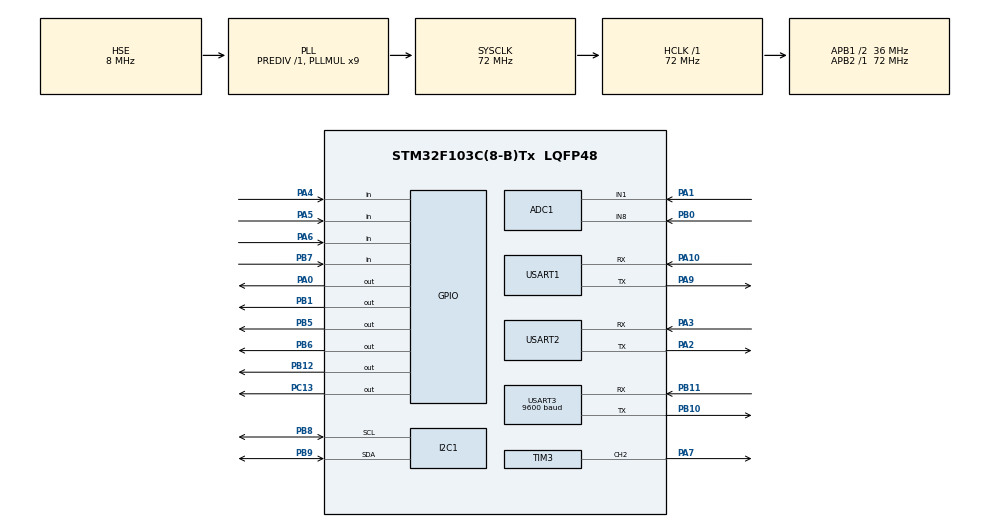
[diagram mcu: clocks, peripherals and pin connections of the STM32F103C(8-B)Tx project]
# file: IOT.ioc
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ADC1.Channel-0\#ChannelRegularConversion=ADC_CHANNEL_8
ADC1.NbrOfConversionFlag=1
ADC1.Rank-0\#ChannelRegularConversion=1
ADC1.SamplingTime-0\#ChannelRegularConversion=ADC_SAMPLETIME_1CYCLE_5
ADC1.master=1
Mcu.Family=STM32F1
Mcu.Name=STM32F103C(8-B)Tx
Mcu.Package=LQFP48
NVIC.PriorityGroup=NVIC_PRIORITYGROUP_4
NVIC.TIM1_BRK_IRQn=true\:0\:0\:false\:false\:true\:true\:true\:true
NVIC.TIM1_CC_IRQn=true\:0\:0\:false\:false\:true\:true\:true\:true
NVIC.TIM1_TRG_COM_IRQn=true\:0\:0\:false\:false\:true\:true\:true\:true
NVIC.TIM1_UP_IRQn=true\:0\:0\:false\:false\:true\:true\:true\:true
NVIC.USART1_IRQn=true\:2\:0\:true\:false\:true\:true\:true\:true
NVIC.USART2_IRQn=true\:0\:0\:true\:false\:true\:true\:true\:true
NVIC.USART3_IRQn=true\:1\:0\:true\:false\:true\:true\:true\:true
PA0-WKUP.GPIO_Speed=GPIO_SPEED_FREQ_HIGH
PA0-WKUP.PinState=GPIO_PIN_SET
PA0-WKUP.Signal=GPIO_Output
PA1.Signal=ADCx_IN1
PA10.Mode=Asynchronous
PA10.Signal=USART1_RX
PA13.Mode=Serial_Wire
PA13.Signal=SYS_JTMS-SWDIO
PA14.Mode=Serial_Wire
PA14.Signal=SYS_JTCK-SWCLK
PA2.Mode=Asynchronous
PA2.Signal=USART2_TX
PA3.Mode=Asynchronous
PA3.Signal=USART2_RX
PA4.GPIO_PuPd=GPIO_PULLUP
PA4.Signal=GPIO_Input
PA5.GPIO_PuPd=GPIO_PULLUP
PA5.Signal=GPIO_Input
PA6.GPIO_PuPd=GPIO_PULLUP
PA6.Signal=GPIO_Input
PA7.Signal=S_TIM3_CH2
PA9.Mode=Asynchronous
PA9.Signal=USART1_TX
PB0.Signal=ADCx_IN8
PB1.Signal=GPIO_Output
PB10.Mode=Asynchronous
PB10.Signal=USART3_TX
PB11.Mode=Asynchronous
PB11.Signal=USART3_RX
PB12.GPIO_Speed=GPIO_SPEED_FREQ_HIGH
PB12.PinState=GPIO_PIN_SET
PB12.Signal=GPIO_Output
PB5.PinState=GPIO_PIN_SET
PB5.Signal=GPIO_Output
PB6.PinState=GPIO_PIN_SET
PB6.Signal=GPIO_Output
PB7.GPIO_PuPd=GPIO_PULLUP
PB7.Signal=GPIO_Input
PB8.Mode=I2C
PB8.Signal=I2C1_SCL
PB9.Mode=I2C
PB9.Signal=I2C1_SDA
PC13-TAMPER-RTC.Signal=GPIO_Output
PD0-OSC_IN.Mode=HSE-External-Oscillator
PD0-OSC_IN.Signal=RCC_OSC_IN
PD1-OSC_OUT.Mode=HSE-External-Oscillator
PD1-OSC_OUT.Signal=RCC_OSC_OUT
ProjectManager.HeapSize=0x800
ProjectManager.StackSize=0x1200
ProjectManager.TargetToolchain=MDK-ARM V5.32
RCC.ADCPresc=RCC_ADCPCLK2_DIV6
RCC.AHBFreq_Value=72000000
RCC.APB1CLKDivider=RCC_HCLK_DIV2
RCC.APB1Freq_Value=36000000
RCC.APB1TimFreq_Value=72000000
RCC.APB2Freq_Value=72000000
RCC.APB2TimFreq_Value=72000000
RCC.HCLKFreq_Value=72000000
RCC.PLLMUL=RCC_PLL_MUL9
RCC.PLLSourceVirtual=RCC_PLLSOURCE_HSE
RCC.SYSCLKFreq_VALUE=72000000
RCC.SYSCLKSource=RCC_SYSCLKSOURCE_PLLCLK
RCC.USBFreq_Value=72000000
SH.ADCx_IN1.0=ADC1_IN1,IN1
SH.ADCx_IN8.0=ADC1_IN8,IN8
SH.S_TIM3_CH2.0=TIM3_CH2,PWM Generation2 CH2
TIM1.Period=1000-1
TIM1.Prescaler=720-1
TIM3.Channel-PWM\ Generation2\ CH2=TIM_CHANNEL_2
TIM3.Period=100-1
TIM3.Prescaler=720-1
USART1.VirtualMode=VM_ASYNC
USART2.VirtualMode=VM_ASYNC
USART3.BaudRate=9600
USART3.VirtualMode=VM_ASYNC
VP_TIM1_VS_ClockSourceINT.Mode=Internal
VP_TIM4_VS_ClockSourceINT.Mode=Internal
board=custom

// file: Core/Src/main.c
#include "app_config.h"
/*
 * MODULE OVERVIEW
 * 文件：main.c
 * 作用：系统主流程、外设初始化、5 秒上报、模式控制、配置加载和掉电保存。
 * 关键流程：
 *   1. HAL/RCC/GPIO/ADC/I2C/USART/TIM 初始化
 *   2. Hardware_Init() 初始化显示、传感器、LED、水泵和 EEPROM 参数
 *   3. Config_Load() 读取 24C02 参数并迁移旧版本
 *   4. 主循环读取传感器、上报 OneNET、处理按键和执行器
 * 注意：
 *   delay_ms() 依赖 TIM4 1 MHz 时基，delay_us 使用 DWT。
 *   sensor_status 只反映可可靠判断的 DHT11 和 CO2 状态。
 */
/* USER CODE BEGIN Header */
/**
  ******************************************************************************
  * @file           : main.c
  * @brief          : Main program body
  ******************************************************************************
  * @attention
  *
  * Copyright (c) 2026 STMicroelectronics.
  * All rights reserved.
  *
  * This software is licensed under terms that can be found in the LICENSE file
  * in the root directory of this software component.
  * If no LICENSE file comes with this software, it is provided AS-IS.
  *
  ******************************************************************************
  */
/* USER CODE END Header */
#include "main.h"
#include "adc.h"
#include "i2c.h"
#include "tim.h"
#include "usart.h"
#include "gpio.h"

/* USER CODE BEGIN Includes */
//网络协议层
#include "onenet.h"

//网络设备
#include "esp8266.h"

//中间件层
#include "mw_config.h"
#include "app_sensors.h"
#include "app_vgus.h"
#include "app_commands.h"

//硬件驱动
#include "myusart.h"
#include "dht11.h"
#include "TS.h"
#include "usart3.h"
#include "LDR.h"
#include "LED.h"
#include "beep.h"
#include "jdq.h"
#include "fan.h"
#include "oled.h"
#include "Display.h"
#include "Key.h"
#include "delay.h"
#include "bump.h"

//C库
#include <string.h>
#include <stddef.h>

/* USER CODE END Includes */

/* USER CODE BEGIN PD */
#define ESP8266_ONENET_INFO		"AT+CIPSTART=\"TCP\",\"mqtts.heclouds.com\",1883\r\n"
#define ONENET_UPLOAD_INTERVAL	5000	// 5s
#define USE_WATCHDOG			1

/* USER CODE END PD */

/* USER CODE BEGIN PV */
Key Keys[4];
float water_vol = 0.0f;
extern uint8_t esp8266_buf[512];
volatile Abnormal abnormal[3] = {NONE};
volatile DisplayScreen CurrentScreen = DISPLAY_NONE; // 当前显示界面

/* USER CODE END PV */

void SystemClock_Config(void);
/* USER CODE BEGIN PFP */
void Hardware_Init(void);
void Watchdog_Init(void);
void Watchdog_Feed(void);

/* USER CODE END PFP */

/* USER CODE BEGIN 0 */

/* 采集与滤波状态由 modules/app/src/app_sensors.c 管理。 */

/* USER CODE END 0 */

int main(void)
{

  /* MCU Configuration--------------------------------------------------------*/

  /* Reset of all peripherals, Initializes the Flash interface and the Systick. */
  HAL_Init();

  /* Configure the system clock */
  SystemClock_Config();

  /* Initialize all configured peripherals */
  MX_GPIO_Init();
  MX_ADC1_Init();
  MX_I2C1_Init();
  MX_USART1_UART_Init();
  MX_USART2_UART_Init();
  MX_TIM4_Init();
  MX_TIM1_Init();
  MX_USART3_UART_Init();
  MX_TIM3_Init();
  /* USER CODE BEGIN 2 */
	uint32_t last_upload_tick = 0;
	uint32_t last_report_attempt_tick = 0;
	uint32_t last_reconnect_tick = 0;
	uint32_t last_led_control_tick = 0;
	unsigned char *dataPtr = NULL;
	uint8_t net_retry = 0;
	uint8_t login_retry = 0;
	AppConfig_Init();
	SensorService_Init();
	Hardware_Init();
	/* USART1 留给 VGUS 串口屏，由屏驱动管理收发。 */
	HAL_UART_Receive_IT(&huart2, (uint8_t *)&received_data, 1);
	USART3_Rx_Start_IT();
	Config_Load();
	HAL_TIM_Base_Start_IT(&htim1);
	HAL_TIM_PWM_Start(&htim3,TIM_CHANNEL_2);
	Mode_Switch();
	ESP8266_Init();
	OLED_Clear();
	OLED_ShowString(0,0,(uint8_t*)" Connect MQTTs Server...",16);
	net_retry = 0;
	while(ESP8266_SendCmd(ESP8266_ONENET_INFO, "CONNECT") && net_retry++ < 5)
		delay_ms(500);
	OLED_ShowString(0,4,(uint8_t*)" Connect MQTT Server Success...",16);
		delay_ms(500);
	OLED_Clear();
	OLED_ShowString(0,3,(uint8_t*)" Device login...",16);
	//等待onenet平台连接
	login_retry = 0;
	while(OneNet_DevLink() && login_retry++ < 5)
	{
		ESP8266_SendCmd(ESP8266_ONENET_INFO, "CONNECT");
		delay_ms(500);
	}		//接入OneNET
		delay_ms(500);

	OneNET_Subscribe();
	Watchdog_Init();
	OLED_Clear();
	CurrentScreen = DISPLAY_NONE;

  /* USER CODE END 2 */

  /* Infinite loop */
  /* USER CODE BEGIN WHILE */
	while (1)
	{
		Watchdog_Feed();
		Config_Process();

		/* USER CODE END WHILE */

    /* USER CODE BEGIN 3 */

		Key_Func();

		if ((AppConfig_Get()->led_mode == MODE_AUTO_PID) &&
		    ((HAL_GetTick() - last_led_control_tick) >= LED_CONTROL_INTERVAL_MS))
		{
			last_led_control_tick = HAL_GetTick();

			if (SensorService_ReadLight() != 0U)
			{
				LED_Update(SensorService_GetData()->light_lux);
			}
		}

		if(!OneNet_IsConnected() &&
		   (HAL_GetTick() - last_reconnect_tick >= 10000))
		{
			last_reconnect_tick = HAL_GetTick();
			if(ESP8266_SendCmd(ESP8266_ONENET_INFO, "CONNECT") == 0)
			{
				if(OneNet_DevLink() == 0)
				{
					OneNET_Subscribe();
				}
			}
		}

        uint32_t now_tick = HAL_GetTick();
        uint8_t periodic_report_due = (uint8_t)((uint32_t)(now_tick - last_upload_tick) >= ONENET_UPLOAD_INTERVAL);
        if (periodic_report_due)
        {
            last_upload_tick = now_tick;
            SensorService_Poll();
            Vgus_DisplayTempHumi(SensorService_GetData());
        }
        /* 命令先处理，输出业务更新后再上报；事件上报不推迟5秒采集时钟。 */

				dataPtr = ESP8266_GetIPD(0);
				if(dataPtr != NULL)
				OneNet_RevPro(dataPtr);

				Bump_Control();
				Monitor_Temp();
				LED_Func();
				IS_Normal();
                now_tick = HAL_GetTick();
                if (periodic_report_due || AppCommands_ReportDue(now_tick, last_report_attempt_tick, OneNet_IsConnected()))
                {
                    last_report_attempt_tick = now_tick;
                    if (OneNet_SendData() == 0) AppCommands_ReportSent(); /* 现有接口：0成功，1失败。 */
                    ESP8266_Clear();
                }
				Display_Data();

				delay_ms(10);
  }
  /* USER CODE END 3 */
}

void SystemClock_Config(void)
{
  RCC_OscInitTypeDef RCC_OscInitStruct = {0};
  RCC_ClkInitTypeDef RCC_ClkInitStruct = {0};
  RCC_PeriphCLKInitTypeDef PeriphClkInit = {0};

  /** Initializes the RCC Oscillators according to the specified parameters
  * in the RCC_OscInitTypeDef structure.
  */
  RCC_OscInitStruct.OscillatorType = RCC_OSCILLATORTYPE_HSE;
  RCC_OscInitStruct.HSEState = RCC_HSE_ON;
  RCC_OscInitStruct.HSEPredivValue = RCC_HSE_PREDIV_DIV1;
  RCC_OscInitStruct.HSIState = RCC_HSI_ON;
  RCC_OscInitStruct.PLL.PLLState = RCC_PLL_ON;
  RCC_OscInitStruct.PLL.PLLSource = RCC_PLLSOURCE_HSE;
  RCC_OscInitStruct.PLL.PLLMUL = RCC_PLL_MUL9;
  if (HAL_RCC_OscConfig(&RCC_OscInitStruct) != HAL_OK)
  {
    Error_Handler();
  }

  /** Initializes the CPU, AHB and APB buses clocks
  */
  RCC_ClkInitStruct.ClockType = RCC_CLOCKTYPE_HCLK|RCC_CLOCKTYPE_SYSCLK
                              |RCC_CLOCKTYPE_PCLK1|RCC_CLOCKTYPE_PCLK2;
  RCC_ClkInitStruct.SYSCLKSource = RCC_SYSCLKSOURCE_PLLCLK;
  RCC_ClkInitStruct.AHBCLKDivider = RCC_SYSCLK_DIV1;
  RCC_ClkInitStruct.APB1CLKDivider = RCC_HCLK_DIV2;
  RCC_ClkInitStruct.APB2CLKDivider = RCC_HCLK_DIV1;

  if (HAL_RCC_ClockConfig(&RCC_ClkInitStruct, FLASH_LATENCY_2) != HAL_OK)
  {
    Error_Handler();
  }
  PeriphClkInit.PeriphClockSelection = RCC_PERIPHCLK_ADC;
  PeriphClkInit.AdcClockSelection = RCC_ADCPCLK2_DIV6;
  if (HAL_RCCEx_PeriphCLKConfig(&PeriphClkInit) != HAL_OK)
  {
    Error_Handler();
  }
}

/* USER CODE BEGIN 4 */

/* ============================================================
 * 配置管理模块已抽离到 modules/middleware/src/mw_config.c
 * 原 414-821 行的 12 个 Config_* 函数和 DeviceConfig 结构
 * 现由 mw_config.h 提供接口，逻辑未做任何改动。
 * ============================================================ */

void Hardware_Init(void)
{
	delay_init();
	delay_us_init();
	Beep_Init();
	BUMP_Init();
	LED_Init();
	JDQ_Init();
	FAN_Init();
	OLED_Init();
	uint8_t dht_retry = 0;
	while(DHT11_Init() && dht_retry < 3)
	{
		OLED_ShowString(0,0,"DHT11 Error",16);
		delay_ms(1000);
		dht_retry++;
	}
	if(dht_retry >= 3)
	{
		OLED_ShowString(0,2,"DHT11 FAIL",16);
		delay_ms(500);
	}

		OLED_Clear();
		OLED_ShowString(0,0,"Hardware init OK",16);
		delay_ms(1000);
		OLED_Clear();

}

static volatile uint8_t watchdog_enabled = 0;

void Watchdog_Init(void)
{
#if USE_WATCHDOG
	IWDG->KR = 0xCCCC;
	IWDG->KR = 0x5555;
	IWDG->PR = 6;      // LSI / 256
	IWDG->RLR = 1250;  // about 8s at 40kHz LSI
	while (IWDG->SR) {}
	IWDG->KR = 0xAAAA;
	watchdog_enabled = 1;
#endif
}

void Watchdog_Feed(void)
{
#if USE_WATCHDOG
	if(watchdog_enabled)
	{
		IWDG->KR = 0xAAAA;
	}
#endif
}

/* USER CODE END 4 */

void Error_Handler(void)
{
  __disable_irq();
  while (1)
  {
  }
}
